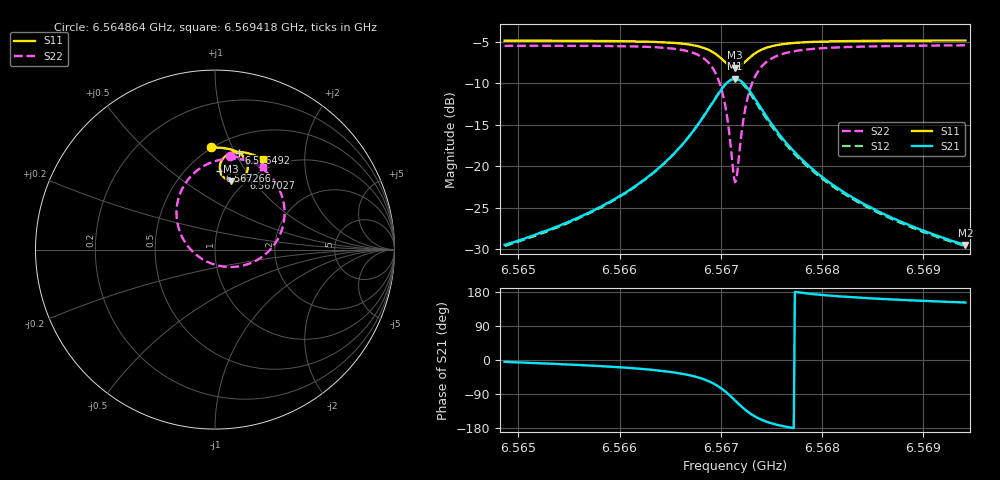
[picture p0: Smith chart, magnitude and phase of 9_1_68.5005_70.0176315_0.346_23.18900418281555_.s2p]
#  HZ  S  RI  R  50.00
! Rohde & Schwarz Vector Network Analyzer
! Rohde-Schwarz,ZNB20-2Port,1311601062101988,3.16
! Created: UTC 3/20/2024, 4:48:56 PM
! freq[Hz]  re:S11  im:S11  re:S21  im:S21  re:S12  im:S12  re:S22  im:S22
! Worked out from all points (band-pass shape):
!   401 points, 6.564864 GHz to 6.569418 GHz, reference 50 ohm
!   highest |S21| = -9.48 dB at 6.567141 GHz (marker M1); lowest = -29.5 dB at 6.569418 GHz (marker M2)
!   |S21| within 3 dB of the highest: 6.566913 GHz to 6.567369 GHz (455.7 kHz wide, 0.00694 % of centre)
!   lowest |S11| = -8.2 dB at 6.567141 GHz (marker M3), VSWR 2.28, Z = 43.3 + j38.9 ohm
!   |S11| at or under -10 dB: nowhere
!   |S22| runs from -21.9 to -5.4 dB; largest |S21 - S12| = 0.018
!   S11 on the Smith chart (normalised r, x): 6.564864 GHz: 0.49, +0.83; 6.566492 GHz: 0.67, +1.04; 6.567027 GHz: 0.94, +0.93; 6.567266 GHz: 0.71, +0.77; 6.569418 GHz: 0.86, +1.28
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6.5648641e9  -0.0218 0.569  0.0335 -0.00288  0.0329 -0.00332  0.0838 0.5234
6.5656268e9  0.0433 0.5663  0.0486 -0.0118  0.048 -0.0124  0.1643 0.5037
6.566048e9  0.0835 0.559  0.0645 -0.0235  0.0635 -0.0244  0.2222 0.478
6.5663895e9  0.1213 0.5452  0.0864 -0.0456  0.0852 -0.0467  0.2857 0.4329
6.5664919e9  0.1341 0.5381  0.0955 -0.0576  0.0942 -0.0588  0.3092 0.4089
6.5666968e9  0.1621 0.5138  0.1169 -0.0996  0.1151 -0.102  0.3622 0.3266
6.5668562e9  0.1808 0.4751  0.1258 -0.1684  0.1223 -0.1724  0.3875 0.1939
6.5669587e9  0.1787 0.4338  0.1039 -0.2412  0.0967 -0.2463  0.3485 0.0554
6.567027e9  0.1597 0.4022  0.0559 -0.2952  0.0441 -0.2992  0.2567 -0.0444
6.5670839e9  0.1281 0.3827  -0.0126 -0.3257  -0.0282 -0.3251  0.1279 -0.0943
6.567118e9  0.1038 0.379  -0.0624 -0.3282  -0.0787 -0.3237  0.0368 -0.093
6.5671408e9  0.0871 0.381  -0.0961 -0.3218  -0.112 -0.3142  -0.0228 -0.0766
6.5671636e9  0.0712 0.3865  -0.1279 -0.3089  -0.1424 -0.2983  -0.0776 -0.0485
6.5672205e9  0.0409 0.4125  -0.1887 -0.2552  -0.1974 -0.2404  -0.176 0.0564
6.567266e9  0.0294 0.4387  -0.2132 -0.2035  -0.217 -0.1884  -0.21 0.1507
6.5673571e9  0.032 0.4845  -0.215 -0.1155  -0.2127 -0.104  -0.1975 0.3042
6.5674937e9  0.0596 0.5221  -0.1774 -0.0428  -0.1734 -0.0364  -0.1169 0.426
6.5676531e9  0.0918 0.5388  -0.1364 -0.0082  -0.1329 -0.00488  -0.0327 0.4807
6.5679035e9  0.1308 0.5443  -0.0957 0.00987  -0.0934 0.0114  0.0564 0.5044
6.568245e9  0.1705 0.5399  -0.0661 0.0158  -0.0645 0.0165  0.131 0.5044
6.5686662e9  0.2099 0.5291  -0.0468 0.0169  -0.0456 0.0173  0.1918 0.4922
6.5694176e9  0.269 0.5037  -0.0295 0.0158  -0.0288 0.0161  0.2675 0.4623
